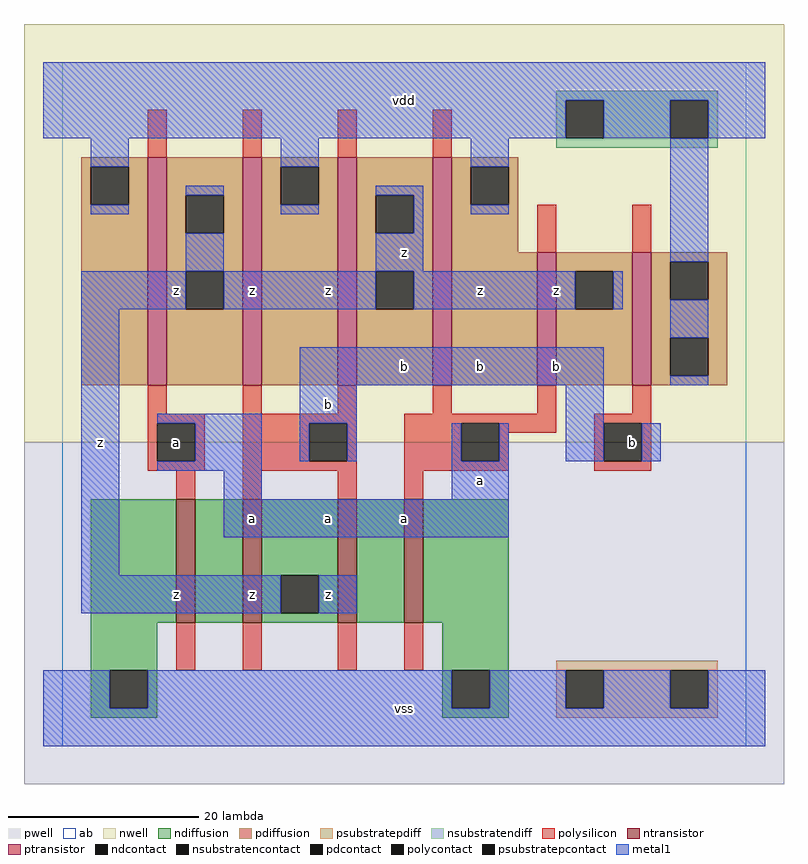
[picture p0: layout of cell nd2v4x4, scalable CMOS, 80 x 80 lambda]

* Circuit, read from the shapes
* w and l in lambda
.subckt nd2v4x4 a b vdd vss z
M1 n1 a vss vss nfet w=13 l=2
M2 z b n1 vss nfet w=13 l=2
M3 n2 b z vss nfet w=13 l=2
M4 vss a n2 vss nfet w=13 l=2
M5 z a vdd vdd pfet w=24 l=2 m=2
M6 vdd b z vdd pfet w=24 l=2 m=2
M7 z a vdd vdd pfet w=14 l=2
M8 vdd b z vdd pfet w=14 l=2
.ends

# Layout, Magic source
magic
tech scmos
<< ab >>
rect 0 0 72 72
<< pwell >>
rect -4 -4 76 32
<< nwell >>
rect -4 32 76 76
<< polysilicon >>
rect 9 62 11 67
rect 19 62 21 67
rect 29 62 31 67
rect 39 62 41 67
rect 50 52 52 57
rect 60 52 62 57
rect 9 35 11 38
rect 19 35 21 38
rect 29 35 31 38
rect 39 35 41 38
rect 50 35 52 38
rect 60 35 62 38
rect 9 34 15 35
rect 9 30 10 34
rect 14 30 15 34
rect 9 29 15 30
rect 19 34 31 35
rect 19 30 26 34
rect 30 30 31 34
rect 19 29 31 30
rect 12 26 14 29
rect 19 26 21 29
rect 29 26 31 29
rect 36 34 52 35
rect 36 30 42 34
rect 46 33 52 34
rect 56 34 62 35
rect 46 30 47 33
rect 36 29 47 30
rect 56 30 57 34
rect 61 30 62 34
rect 56 29 62 30
rect 36 26 38 29
rect 12 8 14 13
rect 19 8 21 13
rect 29 8 31 13
rect 36 8 38 13
<< ndiffusion >>
rect 3 13 12 26
rect 14 13 19 26
rect 21 18 29 26
rect 21 14 23 18
rect 27 14 29 18
rect 21 13 29 14
rect 31 13 36 26
rect 38 13 47 26
rect 3 8 10 13
rect 40 8 47 13
rect 3 4 5 8
rect 9 4 10 8
rect 3 3 10 4
rect 40 4 41 8
rect 45 4 47 8
rect 40 3 47 4
<< pdiffusion >>
rect 2 61 9 62
rect 2 57 3 61
rect 7 57 9 61
rect 2 38 9 57
rect 11 58 19 62
rect 11 54 13 58
rect 17 54 19 58
rect 11 50 19 54
rect 11 46 13 50
rect 17 46 19 50
rect 11 38 19 46
rect 21 61 29 62
rect 21 57 23 61
rect 27 57 29 61
rect 21 38 29 57
rect 31 58 39 62
rect 31 54 33 58
rect 37 54 39 58
rect 31 50 39 54
rect 31 46 33 50
rect 37 46 39 50
rect 31 38 39 46
rect 41 61 48 62
rect 41 57 43 61
rect 47 57 48 61
rect 41 52 48 57
rect 41 38 50 52
rect 52 50 60 52
rect 52 46 54 50
rect 58 46 60 50
rect 52 38 60 46
rect 62 51 70 52
rect 62 47 64 51
rect 68 47 70 51
rect 62 43 70 47
rect 62 39 64 43
rect 68 39 70 43
rect 62 38 70 39
<< metal1 >>
rect -2 68 74 72
rect -2 64 53 68
rect 57 64 64 68
rect 68 64 74 68
rect 3 61 7 64
rect 23 61 27 64
rect 3 56 7 57
rect 13 58 17 59
rect 43 61 47 64
rect 23 56 27 57
rect 33 58 38 59
rect 13 50 17 54
rect 37 54 38 58
rect 43 56 47 57
rect 33 50 38 54
rect 64 51 68 64
rect 2 46 13 50
rect 17 46 33 50
rect 37 46 54 50
rect 58 46 59 50
rect 2 18 6 46
rect 64 43 68 47
rect 25 38 57 42
rect 64 38 68 39
rect 10 34 21 35
rect 14 30 21 34
rect 25 34 31 38
rect 25 30 26 34
rect 30 30 31 34
rect 41 30 42 34
rect 46 30 47 34
rect 53 30 57 38
rect 61 30 63 34
rect 10 29 21 30
rect 17 26 21 29
rect 41 26 47 30
rect 17 22 47 26
rect 2 14 23 18
rect 27 14 31 18
rect -2 4 5 8
rect 9 4 41 8
rect 45 4 53 8
rect 57 4 64 8
rect 68 4 74 8
rect -2 0 74 4
<< ntransistor >>
rect 12 13 14 26
rect 19 13 21 26
rect 29 13 31 26
rect 36 13 38 26
<< ptransistor >>
rect 9 38 11 62
rect 19 38 21 62
rect 29 38 31 62
rect 39 38 41 62
rect 50 38 52 52
rect 60 38 62 52
<< polycontact >>
rect 10 30 14 34
rect 26 30 30 34
rect 42 30 46 34
rect 57 30 61 34
<< ndcontact >>
rect 23 14 27 18
rect 5 4 9 8
rect 41 4 45 8
<< pdcontact >>
rect 3 57 7 61
rect 13 54 17 58
rect 13 46 17 50
rect 23 57 27 61
rect 33 54 37 58
rect 33 46 37 50
rect 43 57 47 61
rect 54 46 58 50
rect 64 47 68 51
rect 64 39 68 43
<< psubstratepcontact >>
rect 53 4 57 8
rect 64 4 68 8
<< nsubstratencontact >>
rect 53 64 57 68
rect 64 64 68 68
<< psubstratepdiff >>
rect 52 8 69 9
rect 52 4 53 8
rect 57 4 64 8
rect 68 4 69 8
rect 52 3 69 4
<< nsubstratendiff >>
rect 52 68 69 69
rect 52 64 53 68
rect 57 64 64 68
rect 68 64 69 68
rect 52 63 69 64
<< labels >>
rlabel metal1 4 32 4 32 6 z
rlabel metal1 20 16 20 16 6 z
rlabel metal1 12 16 12 16 6 z
rlabel metal1 20 24 20 24 6 a
rlabel polycontact 12 32 12 32 6 a
rlabel metal1 12 48 12 48 6 z
rlabel metal1 20 48 20 48 6 z
rlabel metal1 36 4 36 4 6 vss
rlabel metal1 28 16 28 16 6 z
rlabel metal1 28 24 28 24 6 a
rlabel metal1 36 24 36 24 6 a
rlabel metal1 28 36 28 36 6 b
rlabel metal1 36 40 36 40 6 b
rlabel metal1 28 48 28 48 6 z
rlabel metal1 36 52 36 52 6 z
rlabel metal1 36 68 36 68 6 vdd
rlabel metal1 44 28 44 28 6 a
rlabel metal1 44 40 44 40 6 b
rlabel metal1 52 40 52 40 6 b
rlabel metal1 44 48 44 48 6 z
rlabel metal1 52 48 52 48 6 z
rlabel polycontact 60 32 60 32 6 b
<< end >>
